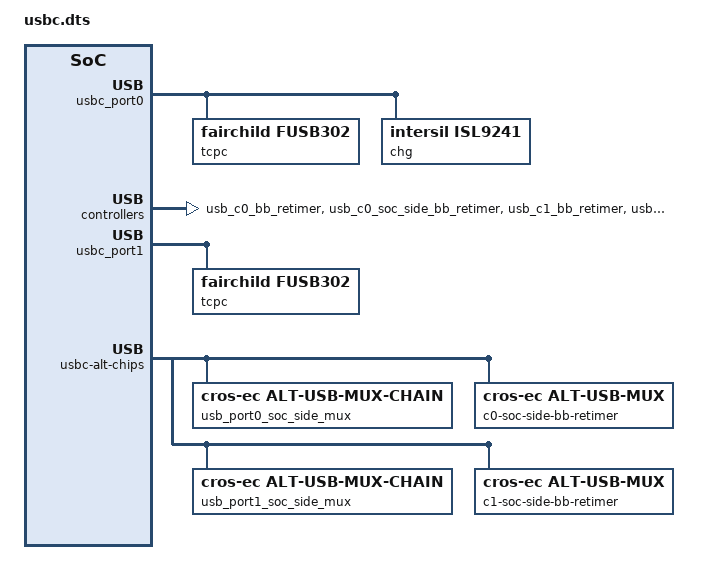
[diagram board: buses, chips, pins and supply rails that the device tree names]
/* Copyright 2022 The Chromium OS Authors. All rights reserved.
 * Use of this source code is governed by a BSD-style license that can be
 * found in the LICENSE file.
 */

/ {
	usbc {
		#address-cells = <1>;
		#size-cells = <0>;
		usbc_port0: port0@0 {
			compatible = "named-usbc-port";
			reg = <0>;
			tcpc {
				compatible = "fairchild,fusb302";
				status = "okay";
				port = <&typec_0>;
				i2c-addr-flags = "FUSB302_I2C_ADDR_FLAGS";
			};
			chg {
				compatible = "intersil,isl9241";
				status = "okay";
				port = <&i2c_charger>;
			};
			usb-muxes = <&usb_c0_bb_retimer &virtual_mux_c0>;
		};
		port0-muxes {
			usb_c0_bb_retimer: jhl8040r-c0 {
				compatible = "intel,jhl8040r";
				port = <&typec_0>;
				i2c-addr-flags = <0x56>;
				reset-pin = <&usb_c0_bb_retimer_rst>;
				ls-en-pin = <&usb_c0_bb_retimer_ls_en>;
			};
			usb_c0_soc_side_bb_retimer: jhl8040r-c0-soc-side {
				compatible = "intel,jhl8040r";
				port = <&typec_0>;
				i2c-addr-flags = <0x54>;
				reset-pin = <&usb_c0_bb_retimer_rst>;
				ls-en-pin = <&usb_c0_bb_retimer_ls_en>;
			};
			virtual_mux_c0: virtual-mux-c0 {
				compatible = "cros-ec,usbc-mux-virtual";
			};
		};

		usbc_port1: port1@1 {
			compatible = "named-usbc-port";
			reg = <1>;
			tcpc {
				compatible = "fairchild,fusb302";
				status = "okay";
				port = <&typec_1>;
				i2c-addr-flags = "FUSB302_I2C_ADDR_FLAGS";
			};
			usb-muxes = <&usb_c1_bb_retimer &virtual_mux_c1>;
		};
		port1-muxes {
			usb_c1_bb_retimer: jhl8040r-c1 {
				compatible = "intel,jhl8040r";
				port = <&typec_1>;
				i2c-addr-flags = <0x57>;
				reset-pin = <&usb_c1_bb_retimer_rst>;
				ls-en-pin = <&usb_c1_bb_retimer_ls_en>;
			};
			usb_c1_soc_side_bb_retimer: jhl8040r-c1-soc-side {
				compatible = "intel,jhl8040r";
				port = <&typec_0>;
				i2c-addr-flags = <0x55>;
				reset-pin = <&usb_c1_bb_retimer_rst>;
				ls-en-pin = <&usb_c1_bb_retimer_ls_en>;
			};
			virtual_mux_c1: virtual-mux-c1 {
				compatible = "cros-ec,usbc-mux-virtual";
			};
		};

		port2@2 {
			compatible = "named-usbc-port";
			reg = <2>;
			tcpc {
				compatible = "fairchild,fusb302";
				status = "okay";
				port = <&typec_2>;
				i2c-addr-flags = "FUSB302_I2C_ADDR_FLAGS";
			};
			usb-muxes = <&usb_c2_bb_retimer &virtual_mux_c2>;
		};
		port2-muxes {
			usb_c2_bb_retimer: jhl8040r-c2 {
				compatible = "intel,jhl8040r";
				port = <&typec_2>;
				i2c-addr-flags = <0x58>;
				reset-pin = <&usb_c2_bb_retimer_rst>;
				ls-en-pin = <&usb_c2_bb_retimer_ls_en>;
			};
			virtual_mux_c2: virtual-mux-c2 {
				compatible = "cros-ec,usbc-mux-virtual";
			};
		};

		port3@3 {
			compatible = "named-usbc-port";
			reg = <3>;
			tcpc {
				compatible = "fairchild,fusb302";
				status = "okay";
				port = <&typec_3>;
				i2c-addr-flags = "FUSB302_I2C_ADDR_FLAGS";
			};
			usb-muxes = <&usb_c3_bb_retimer &virtual_mux_c3>;
		};
		port3-muxes {
			usb_c3_bb_retimer: jhl8040r-c3 {
				compatible = "intel,jhl8040r";
				port = <&typec_3>;
				i2c-addr-flags = <0x59>;
				reset-pin = <&usb_c3_bb_retimer_rst>;
				ls-en-pin = <&usb_c3_bb_retimer_ls_en>;
			};
			virtual_mux_c3: virtual-mux-c3 {
				compatible = "cros-ec,usbc-mux-virtual";
			};
		};
	};
	usbc-alt-chips {
		usb_port0_soc_side_mux: alt-chain-port0 {
			compatible = "cros-ec,alt-usb-mux-chain";
			alternate-for = <&usbc_port0>;
			usb-muxes = <&usb_c0_bb_retimer
				     &usb_c0_soc_side_bb_retimer
				     &virtual_mux_c0>;
		};
		c0-soc-side-bb-retimer {
			compatible = "cros-ec,alt-usb-mux";
			port = <&usbc_port0>;
			usb-mux = <&usb_c0_soc_side_bb_retimer>;
		};
		usb_port1_soc_side_mux: alt-chain-port1 {
			compatible = "cros-ec,alt-usb-mux-chain";
			alternate-for = <&usbc_port1>;
			usb-muxes = <&usb_c1_bb_retimer
				     &usb_c1_soc_side_bb_retimer
				     &virtual_mux_c1>;
		};
		c1-soc-side-bb-retimer {
			compatible = "cros-ec,alt-usb-mux";
			port = <&usbc_port1>;
			usb-mux = <&usb_c1_soc_side_bb_retimer>;
		};
	};
};
